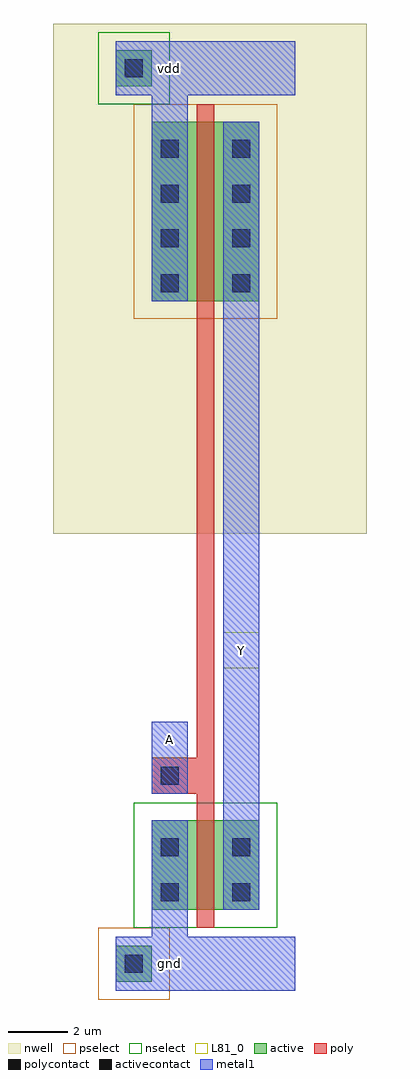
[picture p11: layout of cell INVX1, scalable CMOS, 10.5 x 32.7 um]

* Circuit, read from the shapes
.subckt INVX1 A Y gnd vdd
M1 Y A gnd gnd nfet w=3u l=0.6u
M2 Y A vdd vdd pfet w=6u l=0.6u
.ends

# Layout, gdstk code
import gdstk
lib = gdstk.Library(unit=1e-6, precision=1e-08)
def R(c, l, rs):  # rectangles x0, y0, x1, y1
    for r in rs: c.add(gdstk.rectangle(r[:2], r[2:], *l))
def A(c, l, x, y, w, h, nx, ny, dx, dy):  # array of equal rectangles
    R(c, l, [(x+i*dx, y+j*dy, x+i*dx+w, y+j*dy+h) for i in range(nx) for j in range(ny)])
nwell = (42, 0)
active = (43, 0)
pselect = (44, 0)
nselect = (45, 0)
poly = (46, 0)
polycontact = (47, 0)
activecontact = (48, 0)
metal1 = (49, 0)
L81_0 = (81, 0)

invx1 = lib.new_cell('INVX1')
R(invx1, nwell, [(-2.7,14.4,7.8,31.5)])
R(invx1, active, [(-0.6,-0.6,0.6,0.6), (0.6,1.8,4.2,4.8), (0.6,22.2,4.2,28.2), (-0.6,29.4,0.6,30.6)])
R(invx1, pselect, [(-1.2,-1.2,1.2,1.2), (0,21.6,4.8,28.8)])
R(invx1, nselect, [(0,1.2,4.8,5.4), (-1.2,28.8,1.2,31.2)])
R(invx1, poly, [(2.1,1.2,2.7,5.7), (0.6,5.7,2.7,6.9), (2.1,6.9,2.7,28.8)])
R(invx1, polycontact, [(0.9,6,1.5,6.6)])
A(invx1, activecontact, 0.9, 22.5, 0.6, 0.6, 1, 4, 0, 1.5)
A(invx1, activecontact, 3.3, 22.5, 0.6, 0.6, 1, 4, 0, 1.5)
R(invx1, activecontact, [(-0.3,-0.3,0.3,0.3), (0.9,2.1,1.5,2.7), (3.3,2.1,3.9,2.7), (0.9,3.6,1.5,4.2), (3.3,3.6,3.9,4.2), (-0.3,29.7,0.3,30.3)])
R(invx1, metal1, [(-0.6,-0.9,5.4,0.9), (0.6,0.9,1.8,4.8), (3,1.8,4.2,28.2), (0.6,5.7,1.8,8.1), (0.6,22.2,1.8,29.1), (-0.6,29.1,5.4,30.9)])
R(invx1, L81_0, [(0.6,6.9,1.8,8.1), (3,9.9,4.2,11.1)])
invx1.add(gdstk.Label('A', (1.2,7.5), layer=109, texttype=0))
invx1.add(gdstk.Label('Y', (3.6,10.5), layer=109, texttype=0))
invx1.add(gdstk.Label('vdd', (1.2,30), layer=109, texttype=0))
invx1.add(gdstk.Label('gnd', (1.2,0), layer=109, texttype=0))

lib.write_gds('INVX1.gds')
